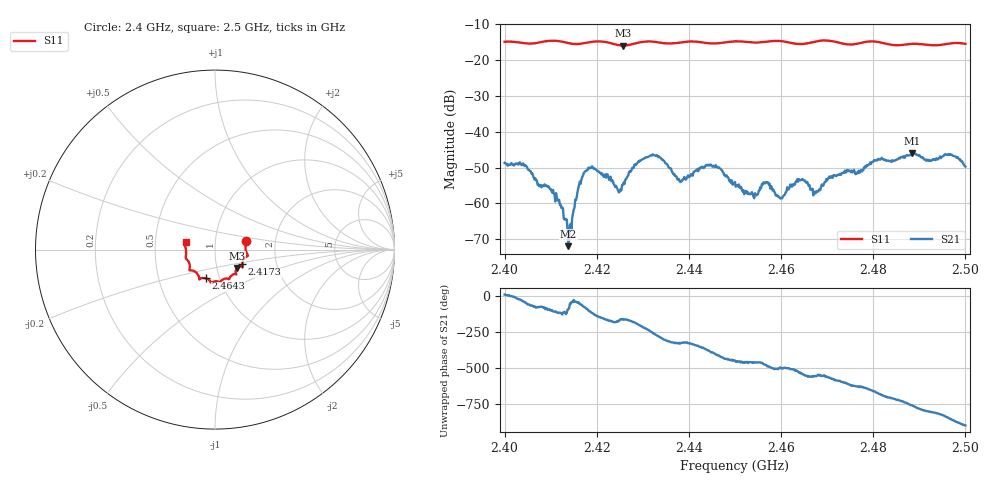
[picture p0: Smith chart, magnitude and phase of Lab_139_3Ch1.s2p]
# Hz S RI R 50
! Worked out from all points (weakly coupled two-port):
!   601 points, 2.4 GHz to 2.5 GHz, reference 50 ohm
!   highest |S21| = -45.99 dB at 2.4885 GHz (marker M1); lowest = -71.9 dB at 2.4138 GHz (marker M2)
!   lowest |S11| = -15.9 dB at 2.4257 GHz (marker M3), VSWR 1.38, Z = 62.4 - j13.2 ohm
!   |S11| at or under -10 dB: start of sweep to end of sweep
!   S12 and S22 are empty: the file has one direction only
!   S11 on the Smith chart (normalised r, x): 2.4 GHz: 1.41, +0.14; 2.4173 GHz: 1.34, -0.23; 2.4643 GHz: 0.86, -0.28; 2.5 GHz: 0.72, +0.06
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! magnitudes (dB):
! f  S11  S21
! 2.4 GHz  -14.9  -48.6
! 2.4043 GHz  -15.3  -49.6
! 2.41 GHz  -14.6  -56.0
! 2.4138 GHz  -15.2  -71.9
! 2.4167 GHz  -15.4  -53.4
! 2.4173 GHz  -15.2  -51.3
! 2.4193 GHz  -14.8  -50.3
! 2.4257 GHz  -15.9  -54.8
! 2.4287 GHz  -15.2  -48.9
! 2.4333 GHz  -15.0  -47.1
! 2.438 GHz  -15.1  -53.8
! 2.4443 GHz  -15.3  -49.2
! 2.45 GHz  -14.7  -54.0
! 2.4545 GHz  -15.1  -57.6
! 2.4567 GHz  -14.9  -54.1
! 2.4598 GHz  -14.7  -58.6
! 2.4643 GHz  -15.5  -53.4
! 2.4667 GHz  -15.0  -56.0
! 2.4833 GHz  -15.6  -48.1
! 2.4885 GHz  -15.4  -46.0
! 2.4968 GHz  -15.3  -46.4
! 2.5 GHz  -15.4  -49.7
